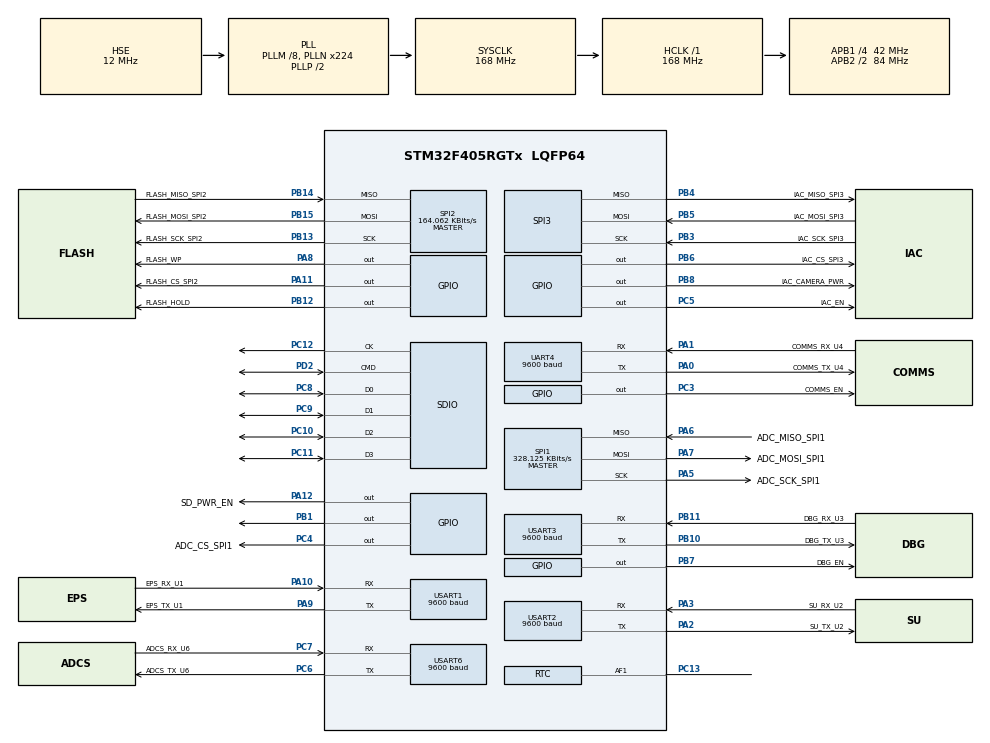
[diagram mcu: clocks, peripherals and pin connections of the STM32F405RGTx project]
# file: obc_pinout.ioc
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ADC1.Channel-21\#ChannelRegularConversion=ADC_CHANNEL_VBAT
ADC1.NbrOfConversionFlag=1
ADC1.Rank-21\#ChannelRegularConversion=1
ADC1.SamplingTime-21\#ChannelRegularConversion=ADC_SAMPLETIME_3CYCLES
ADC1.master=1
Dma.Request0=USART2_TX
Dma.Request1=USART3_TX
Dma.Request2=USART6_TX
Dma.Request3=USART1_TX
Dma.Request4=UART4_TX
Dma.UART4_TX.4.Direction=DMA_MEMORY_TO_PERIPH
Dma.UART4_TX.4.FIFOMode=DMA_FIFOMODE_DISABLE
Dma.UART4_TX.4.Instance=DMA1_Stream4
Dma.UART4_TX.4.MemDataAlignment=DMA_MDATAALIGN_BYTE
Dma.UART4_TX.4.MemInc=DMA_MINC_ENABLE
Dma.UART4_TX.4.Mode=DMA_NORMAL
Dma.UART4_TX.4.PeriphDataAlignment=DMA_PDATAALIGN_BYTE
Dma.UART4_TX.4.PeriphInc=DMA_PINC_DISABLE
Dma.UART4_TX.4.Priority=DMA_PRIORITY_LOW
Dma.USART1_TX.3.Direction=DMA_MEMORY_TO_PERIPH
Dma.USART1_TX.3.FIFOMode=DMA_FIFOMODE_DISABLE
Dma.USART1_TX.3.Instance=DMA2_Stream7
Dma.USART1_TX.3.MemDataAlignment=DMA_MDATAALIGN_BYTE
Dma.USART1_TX.3.MemInc=DMA_MINC_ENABLE
Dma.USART1_TX.3.Mode=DMA_NORMAL
Dma.USART1_TX.3.PeriphDataAlignment=DMA_PDATAALIGN_BYTE
Dma.USART1_TX.3.PeriphInc=DMA_PINC_DISABLE
Dma.USART1_TX.3.Priority=DMA_PRIORITY_LOW
Dma.USART2_TX.0.Direction=DMA_MEMORY_TO_PERIPH
Dma.USART2_TX.0.FIFOMode=DMA_FIFOMODE_DISABLE
Dma.USART2_TX.0.Instance=DMA1_Stream6
Dma.USART2_TX.0.MemDataAlignment=DMA_MDATAALIGN_BYTE
Dma.USART2_TX.0.MemInc=DMA_MINC_ENABLE
Dma.USART2_TX.0.Mode=DMA_NORMAL
Dma.USART2_TX.0.PeriphDataAlignment=DMA_PDATAALIGN_BYTE
Dma.USART2_TX.0.PeriphInc=DMA_PINC_DISABLE
Dma.USART2_TX.0.Priority=DMA_PRIORITY_LOW
Dma.USART3_TX.1.Direction=DMA_MEMORY_TO_PERIPH
Dma.USART3_TX.1.FIFOMode=DMA_FIFOMODE_DISABLE
Dma.USART3_TX.1.Instance=DMA1_Stream3
Dma.USART3_TX.1.MemDataAlignment=DMA_MDATAALIGN_BYTE
Dma.USART3_TX.1.MemInc=DMA_MINC_ENABLE
Dma.USART3_TX.1.Mode=DMA_NORMAL
Dma.USART3_TX.1.PeriphDataAlignment=DMA_PDATAALIGN_BYTE
Dma.USART3_TX.1.PeriphInc=DMA_PINC_DISABLE
Dma.USART3_TX.1.Priority=DMA_PRIORITY_LOW
Dma.USART6_TX.2.Direction=DMA_MEMORY_TO_PERIPH
Dma.USART6_TX.2.FIFOMode=DMA_FIFOMODE_DISABLE
Dma.USART6_TX.2.Instance=DMA2_Stream6
Dma.USART6_TX.2.MemDataAlignment=DMA_MDATAALIGN_BYTE
Dma.USART6_TX.2.MemInc=DMA_MINC_ENABLE
Dma.USART6_TX.2.Mode=DMA_NORMAL
Dma.USART6_TX.2.PeriphDataAlignment=DMA_PDATAALIGN_BYTE
Dma.USART6_TX.2.PeriphInc=DMA_PINC_DISABLE
Dma.USART6_TX.2.Priority=DMA_PRIORITY_LOW
FATFS._FS_LOCK=1
FATFS._MAX_SS=512
FREERTOS.HEAP_NUMBER=1
FREERTOS.INCLUDE_uxTaskGetStackHighWaterMark=1
FREERTOS.INCLUDE_vTaskDelayUntil=1
FREERTOS.Queues01=queueCOMMS,25,uint16_t,NULL;queueADCS,25,uint16_t,NULL;queueDBG,25,uint16_t,NULL;queueEPS,25,uint16_t,NULL
FREERTOS.Tasks01=uart,0,1024,UART_task,Default;HK,-2,512,HK_task,Default;time_check,-3,512,IDLE_task,Default;SU_SCH_task,-1,512,SU_SCH,Default;TEST_task,1,512,StartTask05,Default
FREERTOS.configCHECK_FOR_STACK_OVERFLOW=2
FREERTOS.configUSE_IDLE_HOOK=1
IWDG.Prescaler=IWDG_PRESCALER_256
Mcu.Family=STM32F4
Mcu.Name=STM32F405RGTx
Mcu.Package=LQFP64
NVIC.ADC_IRQn=true\:0\:0\:false\:false\:true\:false
NVIC.DMA1_Stream3_IRQn=true\:5\:0\:false\:false\:true\:true
NVIC.DMA1_Stream4_IRQn=true\:5\:0\:false\:false\:true\:true
NVIC.DMA1_Stream6_IRQn=true\:5\:0\:false\:false\:true\:true
NVIC.DMA2_Stream6_IRQn=true\:5\:0\:false\:false\:true\:true
NVIC.DMA2_Stream7_IRQn=true\:5\:0\:false\:false\:true\:true
NVIC.PriorityGroup=NVIC_PRIORITYGROUP_4
NVIC.SDIO_IRQn=true\:5\:0\:false\:false\:true\:true
NVIC.SPI3_IRQn=true\:5\:0\:false\:false\:true\:true
NVIC.TIM1_UP_TIM10_IRQn=true\:0\:0\:false\:false\:true\:false
NVIC.TimeBase=TIM1_UP_TIM10_IRQn
NVIC.TimeBaseIP=TIM1
NVIC.UART4_IRQn=true\:5\:0\:false\:false\:true\:true
NVIC.USART1_IRQn=true\:5\:0\:false\:false\:true\:true
NVIC.USART2_IRQn=true\:5\:0\:false\:false\:true\:true
NVIC.USART3_IRQn=true\:5\:0\:false\:false\:true\:true
NVIC.USART6_IRQn=true\:5\:0\:false\:false\:true\:true
PA0-WKUP.GPIO_Label=COMMS_TX_U4
PA0-WKUP.Mode=Asynchronous
PA0-WKUP.Signal=UART4_TX
PA1.GPIO_Label=COMMS_RX_U4
PA1.Mode=Asynchronous
PA1.Signal=UART4_RX
PA10.GPIO_Label=EPS_RX_U1
PA10.Mode=Asynchronous
PA10.Signal=USART1_RX
PA11.GPIO_Label=FLASH_CS_SPI2
PA11.Signal=GPIO_Output
PA12.GPIO_Label=SD_PWR_EN
PA12.Signal=GPIO_Output
PA13.Mode=Serial_Wire
PA13.Signal=SYS_JTMS-SWDIO
PA14.Mode=Serial_Wire
PA14.Signal=SYS_JTCK-SWCLK
PA2.GPIO_Label=SU_TX_U2
PA2.Mode=Asynchronous
PA2.Signal=USART2_TX
PA3.GPIO_Label=SU_RX_U2
PA3.Mode=Asynchronous
PA3.Signal=USART2_RX
PA5.GPIO_Label=ADC_SCK_SPI1
PA5.Mode=Full_Duplex_Master
PA5.Signal=SPI1_SCK
PA6.GPIO_Label=ADC_MISO_SPI1
PA6.Mode=Full_Duplex_Master
PA6.Signal=SPI1_MISO
PA7.GPIO_Label=ADC_MOSI_SPI1
PA7.Mode=Full_Duplex_Master
PA7.Signal=SPI1_MOSI
PA8.GPIO_Label=FLASH_WP
PA8.Signal=GPIO_Output
PA9.GPIO_Label=EPS_TX_U1
PA9.Mode=Asynchronous
PA9.Signal=USART1_TX
PB0.GPIO_Label=IAC_CM_ADC1_8
PB0.Signal=ADCx_IN8
PB1.Signal=GPIO_Output
PB10.GPIO_Label=DBG_TX_U3
PB10.Mode=Asynchronous
PB10.Signal=USART3_TX
PB11.GPIO_Label=DBG_RX_U3
PB11.Mode=Asynchronous
PB11.Signal=USART3_RX
PB12.GPIO_Label=FLASH_HOLD
PB12.Signal=GPIO_Output
PB13.GPIO_Label=FLASH_SCK_SPI2
PB13.Mode=Full_Duplex_Master
PB13.Signal=SPI2_SCK
PB14.GPIO_Label=FLASH_MISO_SPI2
PB14.Mode=Full_Duplex_Master
PB14.Signal=SPI2_MISO
PB15.GPIO_Label=FLASH_MOSI_SPI2
PB15.Mode=Full_Duplex_Master
PB15.Signal=SPI2_MOSI
PB3.GPIO_Label=IAC_SCK_SPI3
PB3.Mode=Full_Duplex_Slave
PB3.Signal=SPI3_SCK
PB4.GPIO_Label=IAC_MISO_SPI3
PB4.Mode=Full_Duplex_Slave
PB4.Signal=SPI3_MISO
PB5.GPIO_Label=IAC_MOSI_SPI3
PB5.Mode=Full_Duplex_Slave
PB5.Signal=SPI3_MOSI
PB6.GPIO_Label=IAC_CS_SPI3
PB6.Signal=GPIO_Output
PB7.GPIO_Label=DBG_EN
PB7.Signal=GPIO_Output
PB8.GPIO_Label=IAC_CAMERA_PWR
PB8.Signal=GPIO_Output
PC10.Mode=SD_4_bits_Wide_bus
PC10.Signal=SDIO_D2
PC11.Mode=SD_4_bits_Wide_bus
PC11.Signal=SDIO_D3
PC12.Mode=SD_4_bits_Wide_bus
PC12.Signal=SDIO_CK
PC13-ANTI_TAMP.Mode=Calibration_1Hz
PC13-ANTI_TAMP.Signal=RTC_AF1
PC14-OSC32_IN.Mode=LSE-External-Oscillator
PC14-OSC32_IN.Signal=RCC_OSC32_IN
PC15-OSC32_OUT.Mode=LSE-External-Oscillator
PC15-OSC32_OUT.Signal=RCC_OSC32_OUT
PC3.GPIO_Label=COMMS_EN
PC3.Signal=GPIO_Output
PC4.GPIO_Label=ADC_CS_SPI1
PC4.Signal=GPIO_Output
PC5.GPIO_Label=IAC_EN
PC5.Signal=GPIO_Output
PC6.GPIO_Label=ADCS_TX_U6
PC6.Mode=Asynchronous
PC6.Signal=USART6_TX
PC7.GPIO_Label=ADCS_RX_U6
PC7.Mode=Asynchronous
PC7.Signal=USART6_RX
PC8.Mode=SD_4_bits_Wide_bus
PC8.Signal=SDIO_D0
PC9.Mode=SD_4_bits_Wide_bus
PC9.Signal=SDIO_D1
PD2.Mode=SD_4_bits_Wide_bus
PD2.Signal=SDIO_CMD
PH0-OSC_IN.Mode=HSE-External-Oscillator
PH0-OSC_IN.Signal=RCC_OSC_IN
PH1-OSC_OUT.Mode=HSE-External-Oscillator
PH1-OSC_OUT.Signal=RCC_OSC_OUT
ProjectManager.HeapSize=0x200
ProjectManager.StackSize=0x400
ProjectManager.TargetToolchain=EWARM
RCC.48MHZClocksFreq_Value=48000000
RCC.AHBFreq_Value=168000000
RCC.APB1CLKDivider=RCC_HCLK_DIV4
RCC.APB1Freq_Value=42000000
RCC.APB1TimFreq_Value=84000000
RCC.APB2CLKDivider=RCC_HCLK_DIV2
RCC.APB2Freq_Value=84000000
RCC.APB2TimFreq_Value=168000000
RCC.CortexFreq_Value=168000000
RCC.HCLKFreq_Value=168000000
RCC.HSE_VALUE=12000000
RCC.HSI_VALUE=16000000
<<<<<<< HEAD
=======
>>>>>>> 43d666d733c7030f41e173ef69a7ccceccf4d077
RCC.PLLM=8
RCC.PLLN=224
RCC.PLLQ=7
RCC.PLLSourceVirtual=RCC_PLLSOURCE_HSE
RCC.RCC_RTC_Clock_Source=RCC_RTCCLKSOURCE_LSE
RCC.RCC_RTC_Clock_SourceVirtual=RCC_RTCCLKSOURCE_LSE
RCC.SYSCLKFreq_VALUE=168000000
RCC.SYSCLKSource=RCC_SYSCLKSOURCE_PLLCLK
RCC.VCOOutputFreq_Value=336000000
RTC.Format=RTC_FORMAT_BIN
SDIO.BusWide=SDIO_BUS_WIDE_1B
SDIO.WideMode=SDIO_BUS_WIDE_4B
SH.ADCx_IN8.0=ADC1_IN8
SPI1.BaudRatePrescaler=SPI_BAUDRATEPRESCALER_256
SPI1.CalculateBaudRate=328.125 KBits/s
SPI1.Mode=SPI_MODE_MASTER
SPI2.BaudRatePrescaler=SPI_BAUDRATEPRESCALER_256
SPI2.CLKPhase=SPI_PHASE_1EDGE
SPI2.CalculateBaudRate=164.062 KBits/s
SPI2.Mode=SPI_MODE_MASTER
SPI3.VirtualType=VM_SLAVE
UART4.BaudRate=9600
USART1.BaudRate=9600
USART2.BaudRate=9600
USART3.BaudRate=9600
USART6.BaudRate=9600
VP_ADC1_Vbat_Input.Mode=IN-Vbat
VP_FATFS_VS_SDIO.Mode=SDIO
VP_FREERTOS_VS_ENABLE.Mode=Enabled
VP_IWDG_VS_IWDG.Mode=IWDG_Activate
VP_SYS_VS_tim1.Mode=TIM1
board=obc_pinout

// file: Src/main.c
/**
  ******************************************************************************
  * File Name          : main.c
  * Description        : Main program body
  ******************************************************************************
  *
  * COPYRIGHT(c) 2016 STMicroelectronics
  *
  * Redistribution and use in source and binary forms, with or without modification,
  * are permitted provided that the following conditions are met:
  *   1. Redistributions of source code must retain the above copyright notice,
  *      this list of conditions and the following disclaimer.
  *   2. Redistributions in binary form must reproduce the above copyright notice,
  *      this list of conditions and the following disclaimer in the documentation
  *      and/or other materials provided with the distribution.
  *   3. Neither the name of STMicroelectronics nor the names of its contributors
  *      may be used to endorse or promote products derived from this software
  *      without specific prior written permission.
  *
  * THIS SOFTWARE IS PROVIDED BY THE COPYRIGHT HOLDERS AND CONTRIBUTORS "AS IS"
  * AND ANY EXPRESS OR IMPLIED WARRANTIES, INCLUDING, BUT NOT LIMITED TO, THE
  * IMPLIED WARRANTIES OF MERCHANTABILITY AND FITNESS FOR A PARTICULAR PURPOSE ARE
  * DISCLAIMED. IN NO EVENT SHALL THE COPYRIGHT HOLDER OR CONTRIBUTORS BE LIABLE
  * FOR ANY DIRECT, INDIRECT, INCIDENTAL, SPECIAL, EXEMPLARY, OR CONSEQUENTIAL
  * DAMAGES (INCLUDING, BUT NOT LIMITED TO, PROCUREMENT OF SUBSTITUTE GOODS OR
  * SERVICES; LOSS OF USE, DATA, OR PROFITS; OR BUSINESS INTERRUPTION) HOWEVER
  * CAUSED AND ON ANY THEORY OF LIABILITY, WHETHER IN CONTRACT, STRICT LIABILITY,
  * OR TORT (INCLUDING NEGLIGENCE OR OTHERWISE) ARISING IN ANY WAY OUT OF THE USE
  * OF THIS SOFTWARE, EVEN IF ADVISED OF THE POSSIBILITY OF SUCH DAMAGE.
  *
  ******************************************************************************
  */
#include "stm32f4xx_hal.h"
#include "cmsis_os.h"
#include "fatfs.h"

/* USER CODE BEGIN Includes */
#include "obc.h"
#include "service_utilities.h"
#include "time_management_service.h"
#include "wdg.h"
#include "su_mnlp.h"
#include "scheduling_service.h"

#undef __FILE_ID__
#define __FILE_ID__ 666

/* USER CODE END Includes */

ADC_HandleTypeDef hadc1;

IWDG_HandleTypeDef hiwdg;

RTC_HandleTypeDef hrtc;

SD_HandleTypeDef hsd;
HAL_SD_CardInfoTypedef SDCardInfo;

SPI_HandleTypeDef hspi1;
SPI_HandleTypeDef hspi2;
SPI_HandleTypeDef hspi3;

UART_HandleTypeDef huart4;
UART_HandleTypeDef huart1;
UART_HandleTypeDef huart2;
UART_HandleTypeDef huart3;
UART_HandleTypeDef huart6;
DMA_HandleTypeDef hdma_uart4_tx;
DMA_HandleTypeDef hdma_usart1_tx;
DMA_HandleTypeDef hdma_usart2_tx;
DMA_HandleTypeDef hdma_usart3_tx;
DMA_HandleTypeDef hdma_usart6_tx;

osThreadId uartHandle;
osThreadId hkHandle;
osThreadId idleHandle;
osThreadId su_schHandle;
osThreadId sche_servHandle;
osMessageQId queueCOMMS;
osMessageQId queueADCS;
osMessageQId queueDBG;
osMessageQId queueEPS;

/* USER CODE BEGIN PV */
/* Private variables ---------------------------------------------------------*/
uint8_t uart_temp[200];
extern uint8_t su_inc_resp[180]; //174 su resp + 22 flight hdr, +1 for serial shift = 197
extern struct _MNLP_data MNLP_data;

TaskHandle_t xTask_UART = NULL;
/* USER CODE END PV */

void SystemClock_Config(void);
void Error_Handler(void);
static void MX_GPIO_Init(void);
static void MX_DMA_Init(void);
static void MX_SDIO_SD_Init(void);
static void MX_UART4_Init(void);
static void MX_USART2_UART_Init(void);
static void MX_USART3_UART_Init(void);
static void MX_USART6_UART_Init(void);
static void MX_USART1_UART_Init(void);
static void MX_SPI2_Init(void);
static void MX_SPI1_Init(void);
static void MX_SPI3_Init(void);
static void MX_ADC1_Init(void);
static void MX_RTC_Init(void);
static void MX_IWDG_Init(void);
void UART_task(void const * argument);
void HK_task(void const * argument);
void IDLE_task(void const * argument);
void SU_SCH(void const * argument);
void sche_se_sch(void const * argument);

/* USER CODE BEGIN PFP */
/* Private function prototypes -----------------------------------------------*/

/* USER CODE END PFP */

/* USER CODE BEGIN 0 */
const TickType_t xUARTMaxBlockTime = pdMS_TO_TICKS(10000);
const TickType_t xUARTMinBlockTime = pdMS_TO_TICKS(100);
/* USER CODE END 0 */

int main(void)
{

  /* MCU Configuration----------------------------------------------------------*/

  /* Reset of all peripherals, Initializes the Flash interface and the Systick. */
  HAL_Init();
  HAL_Delay(5000);
  /* Configure the system clock */
  SystemClock_Config();

  /* Initialize all configured peripherals */
  MX_GPIO_Init();
  MX_DMA_Init();
  MX_SDIO_SD_Init();
  MX_UART4_Init();
  MX_USART2_UART_Init();
  MX_USART3_UART_Init();
  MX_USART6_UART_Init();
  MX_USART1_UART_Init();
  MX_SPI2_Init();
  MX_SPI1_Init();
  MX_SPI3_Init();
  MX_ADC1_Init();
  MX_RTC_Init();
  MX_IWDG_Init();

  /* USER CODE BEGIN 2 */
  SEGGER_SYSVIEW_Conf();
  sysview_init();
  /* USER CODE END 2 */

  /* Create the thread(s) */
  /* definition and creation of uart */
  osThreadDef(uart, UART_task, osPriorityAboveNormal, 0, 1024);
  uartHandle = osThreadCreate(osThread(uart), NULL);

  /* definition and creation of HK */
  osThreadDef(HK, HK_task, osPriorityLow, 0, 512);
  hkHandle = osThreadCreate(osThread(HK), NULL);

  /* definition and creation of time_check */
  osThreadDef(time_check, IDLE_task, osPriorityIdle, 0, 512);
  idleHandle = osThreadCreate(osThread(time_check), NULL);

  /* definition and creation of SU_SCH_task */
  osThreadDef(SU_SCH_task, SU_SCH, osPriorityNormal, 0, 512);
  su_schHandle = osThreadCreate(osThread(SU_SCH_task), NULL);

  /* definition and creation of scheduling_serv */
  osThreadDef(scheduling_serv, sche_se_sch, osPriorityBelowNormal, 0, 128);
  sche_servHandle = osThreadCreate(osThread(scheduling_serv), NULL);

  /* Create the queue(s) */
  /* definition and creation of queueCOMMS */
  osMessageQDef(queueCOMMSdef, POOL_PKT_TOTAL_SIZE + 1, sizeof(tc_tm_pkt *));
  queueCOMMS = osMessageCreate(osMessageQ(queueCOMMSdef), NULL);

  /* definition and creation of queueADCS */
  osMessageQDef(queueADCSdef, POOL_PKT_TOTAL_SIZE + 1, sizeof(tc_tm_pkt *));
  queueADCS = osMessageCreate(osMessageQ(queueADCSdef), NULL);

  /* definition and creation of queueDBG */
  osMessageQDef(queueDBGdef, POOL_PKT_TOTAL_SIZE + 1, sizeof(tc_tm_pkt *));
  queueDBG = osMessageCreate(osMessageQ(queueDBGdef), NULL);

  /* definition and creation of queueEPS */
  osMessageQDef(queueEPSdef, POOL_PKT_TOTAL_SIZE + 1, sizeof(tc_tm_pkt *));
  queueEPS = osMessageCreate(osMessageQ(queueEPSdef), NULL);

  /* USER CODE BEGIN RTOS_QUEUES */
  uint32_t test = uxQueueMessagesWaiting( queueEPS );
  test = uxQueueMessagesWaiting( queueDBG );
  test = uxQueueMessagesWaiting( queueADCS );
  test = uxQueueMessagesWaiting( queueCOMMS );
  /* USER CODE END RTOS_QUEUES */

  /* Start scheduler */
  osKernelStart();

  /* We should never get here as control is now taken by the scheduler */

  /* Infinite loop */
  while (1)
  {

  }

}

/** System Clock Configuration
*/
void SystemClock_Config(void)
{

  RCC_OscInitTypeDef RCC_OscInitStruct;
  RCC_ClkInitTypeDef RCC_ClkInitStruct;
  RCC_PeriphCLKInitTypeDef PeriphClkInitStruct;

  __HAL_RCC_PWR_CLK_ENABLE();

  __HAL_PWR_VOLTAGESCALING_CONFIG(PWR_REGULATOR_VOLTAGE_SCALE1);

  RCC_OscInitStruct.OscillatorType = RCC_OSCILLATORTYPE_LSI|RCC_OSCILLATORTYPE_HSE
                              |RCC_OSCILLATORTYPE_LSE;
  RCC_OscInitStruct.HSEState = RCC_HSE_ON;
  RCC_OscInitStruct.LSEState = RCC_LSE_ON;
  RCC_OscInitStruct.LSIState = RCC_LSI_ON;
  RCC_OscInitStruct.PLL.PLLState = RCC_PLL_ON;
  RCC_OscInitStruct.PLL.PLLSource = RCC_PLLSOURCE_HSE;
  RCC_OscInitStruct.PLL.PLLM = 8;
  RCC_OscInitStruct.PLL.PLLN = 224;
  RCC_OscInitStruct.PLL.PLLP = RCC_PLLP_DIV2;
  RCC_OscInitStruct.PLL.PLLQ = 7;
  if (HAL_RCC_OscConfig(&RCC_OscInitStruct) != HAL_OK)
  {
    Error_Handler();
  }

  RCC_ClkInitStruct.ClockType = RCC_CLOCKTYPE_HCLK|RCC_CLOCKTYPE_SYSCLK
                              |RCC_CLOCKTYPE_PCLK1|RCC_CLOCKTYPE_PCLK2;
  RCC_ClkInitStruct.SYSCLKSource = RCC_SYSCLKSOURCE_PLLCLK;
  RCC_ClkInitStruct.AHBCLKDivider = RCC_SYSCLK_DIV1;
  RCC_ClkInitStruct.APB1CLKDivider = RCC_HCLK_DIV4;
  RCC_ClkInitStruct.APB2CLKDivider = RCC_HCLK_DIV2;
  if (HAL_RCC_ClockConfig(&RCC_ClkInitStruct, FLASH_LATENCY_5) != HAL_OK)
  {
    Error_Handler();
  }

  PeriphClkInitStruct.PeriphClockSelection = RCC_PERIPHCLK_RTC;
  PeriphClkInitStruct.RTCClockSelection = RCC_RTCCLKSOURCE_LSE;
  if (HAL_RCCEx_PeriphCLKConfig(&PeriphClkInitStruct) != HAL_OK)
  {
    Error_Handler();
  }

  HAL_SYSTICK_Config(HAL_RCC_GetHCLKFreq()/1000);

  HAL_SYSTICK_CLKSourceConfig(SYSTICK_CLKSOURCE_HCLK);

  /* SysTick_IRQn interrupt configuration */
  HAL_NVIC_SetPriority(SysTick_IRQn, 15, 0);
}

/* ADC1 init function */
static void MX_ADC1_Init(void)
{

  ADC_ChannelConfTypeDef sConfig;

    /**Configure the global features of the ADC (Clock, Resolution, Data Alignment and number of conversion)
    */
  hadc1.Instance = ADC1;
  hadc1.Init.ClockPrescaler = ADC_CLOCK_SYNC_PCLK_DIV4;
  hadc1.Init.Resolution = ADC_RESOLUTION_12B;
  hadc1.Init.ScanConvMode = DISABLE;
  hadc1.Init.ContinuousConvMode = DISABLE;
  hadc1.Init.DiscontinuousConvMode = DISABLE;
  hadc1.Init.ExternalTrigConvEdge = ADC_EXTERNALTRIGCONVEDGE_NONE;
  hadc1.Init.DataAlign = ADC_DATAALIGN_RIGHT;
  hadc1.Init.NbrOfConversion = 1;
  hadc1.Init.DMAContinuousRequests = DISABLE;
  hadc1.Init.EOCSelection = ADC_EOC_SINGLE_CONV;
  if (HAL_ADC_Init(&hadc1) != HAL_OK)
  {
    Error_Handler();
  }

    /**Configure for the selected ADC regular channel its corresponding rank in the sequencer and its sample time.
    */
  sConfig.Channel = ADC_CHANNEL_VBAT;
  sConfig.Rank = 1;
  sConfig.SamplingTime = ADC_SAMPLETIME_3CYCLES;
  if (HAL_ADC_ConfigChannel(&hadc1, &sConfig) != HAL_OK)
  {
    Error_Handler();
  }

}

/* IWDG init function */
static void MX_IWDG_Init(void)
{

  hiwdg.Instance = IWDG;
  hiwdg.Init.Prescaler = IWDG_PRESCALER_256;
  hiwdg.Init.Reload = 4095;
  if (HAL_IWDG_Init(&hiwdg) != HAL_OK)
  {
    Error_Handler();
  }

}

/* RTC init function */
static void MX_RTC_Init(void)
{

  RTC_TimeTypeDef sTime;
  RTC_DateTypeDef sDate;

    /**Initialize RTC and set the Time and Date
    */
  hrtc.Instance = RTC;
  hrtc.Init.HourFormat = RTC_HOURFORMAT_24;
  hrtc.Init.AsynchPrediv = 127;
  hrtc.Init.SynchPrediv = 255;
  hrtc.Init.OutPut = RTC_OUTPUT_DISABLE;
  hrtc.Init.OutPutPolarity = RTC_OUTPUT_POLARITY_HIGH;
  hrtc.Init.OutPutType = RTC_OUTPUT_TYPE_OPENDRAIN;
  if (HAL_RTC_Init(&hrtc) != HAL_OK)
  {
    Error_Handler();
  }

  sTime.Hours = 0;
  sTime.Minutes = 0;
  sTime.Seconds = 0;
  sTime.DayLightSaving = RTC_DAYLIGHTSAVING_NONE;
  sTime.StoreOperation = RTC_STOREOPERATION_RESET;
  //if (HAL_RTC_SetTime(&hrtc, &sTime, RTC_FORMAT_BIN) != HAL_OK)
  //{
  //  Error_Handler();
  //}

  sDate.WeekDay = RTC_WEEKDAY_MONDAY;
  sDate.Month = RTC_MONTH_JANUARY;
  sDate.Date = 1;
  sDate.Year = 0;

  //if (HAL_RTC_SetDate(&hrtc, &sDate, RTC_FORMAT_BIN) != HAL_OK)
  //{
  //  Error_Handler();
  //}

    /**Enable Calibrartion
    */
  //if (HAL_RTCEx_SetCalibrationOutPut(&hrtc, RTC_CALIBOUTPUT_1HZ) != HAL_OK)
  //{
  //  Error_Handler();
  //}

}

/* SDIO init function */
static void MX_SDIO_SD_Init(void)
{

  hsd.Instance = SDIO;
  hsd.Init.ClockEdge = SDIO_CLOCK_EDGE_RISING;
  hsd.Init.ClockBypass = SDIO_CLOCK_BYPASS_DISABLE;
  hsd.Init.ClockPowerSave = SDIO_CLOCK_POWER_SAVE_DISABLE;
  hsd.Init.BusWide = SDIO_BUS_WIDE_1B;
  hsd.Init.HardwareFlowControl = SDIO_HARDWARE_FLOW_CONTROL_DISABLE;
  hsd.Init.ClockDiv = 0;

}

/* SPI1 init function */
static void MX_SPI1_Init(void)
{

  hspi1.Instance = SPI1;
  hspi1.Init.Mode = SPI_MODE_MASTER;
  hspi1.Init.Direction = SPI_DIRECTION_2LINES;
  hspi1.Init.DataSize = SPI_DATASIZE_8BIT;
  hspi1.Init.CLKPolarity = SPI_POLARITY_LOW;
  hspi1.Init.CLKPhase = SPI_PHASE_1EDGE;
  hspi1.Init.NSS = SPI_NSS_SOFT;
  hspi1.Init.BaudRatePrescaler = SPI_BAUDRATEPRESCALER_256;
  hspi1.Init.FirstBit = SPI_FIRSTBIT_MSB;
  hspi1.Init.TIMode = SPI_TIMODE_DISABLE;
  hspi1.Init.CRCCalculation = SPI_CRCCALCULATION_DISABLE;
  hspi1.Init.CRCPolynomial = 10;
  if (HAL_SPI_Init(&hspi1) != HAL_OK)
  {
    Error_Handler();
  }

}

/* SPI2 init function */
static void MX_SPI2_Init(void)
{

  hspi2.Instance = SPI2;
  hspi2.Init.Mode = SPI_MODE_MASTER;
  hspi2.Init.Direction = SPI_DIRECTION_2LINES;
  hspi2.Init.DataSize = SPI_DATASIZE_8BIT;
  hspi2.Init.CLKPolarity = SPI_POLARITY_LOW;
  hspi2.Init.CLKPhase = SPI_PHASE_1EDGE;
  hspi2.Init.NSS = SPI_NSS_SOFT;
  hspi2.Init.BaudRatePrescaler = SPI_BAUDRATEPRESCALER_256;
  hspi2.Init.FirstBit = SPI_FIRSTBIT_MSB;
  hspi2.Init.TIMode = SPI_TIMODE_DISABLE;
  hspi2.Init.CRCCalculation = SPI_CRCCALCULATION_DISABLE;
  hspi2.Init.CRCPolynomial = 10;
  if (HAL_SPI_Init(&hspi2) != HAL_OK)
  {
    Error_Handler();
  }

}

/* SPI3 init function */
static void MX_SPI3_Init(void)
{

  hspi3.Instance = SPI3;
  hspi3.Init.Mode = SPI_MODE_SLAVE;
  hspi3.Init.Direction = SPI_DIRECTION_2LINES;
  hspi3.Init.DataSize = SPI_DATASIZE_8BIT;
  hspi3.Init.CLKPolarity = SPI_POLARITY_LOW;
  hspi3.Init.CLKPhase = SPI_PHASE_1EDGE;
  hspi3.Init.NSS = SPI_NSS_SOFT;
  hspi3.Init.FirstBit = SPI_FIRSTBIT_MSB;
  hspi3.Init.TIMode = SPI_TIMODE_DISABLE;
  hspi3.Init.CRCCalculation = SPI_CRCCALCULATION_DISABLE;
  hspi3.Init.CRCPolynomial = 10;
  if (HAL_SPI_Init(&hspi3) != HAL_OK)
  {
    Error_Handler();
  }

}

/* UART4 init function */
static void MX_UART4_Init(void)
{

  huart4.Instance = UART4;
  huart4.Init.BaudRate = 9600;
  huart4.Init.WordLength = UART_WORDLENGTH_8B;
  huart4.Init.StopBits = UART_STOPBITS_1;
  huart4.Init.Parity = UART_PARITY_NONE;
  huart4.Init.Mode = UART_MODE_TX_RX;
  huart4.Init.HwFlowCtl = UART_HWCONTROL_NONE;
  huart4.Init.OverSampling = UART_OVERSAMPLING_16;
  if (HAL_UART_Init(&huart4) != HAL_OK)
  {
    Error_Handler();
  }

}

/* USART1 init function */
static void MX_USART1_UART_Init(void)
{

  huart1.Instance = USART1;
  huart1.Init.BaudRate = 9600;
  huart1.Init.WordLength = UART_WORDLENGTH_8B;
  huart1.Init.StopBits = UART_STOPBITS_1;
  huart1.Init.Parity = UART_PARITY_NONE;
  huart1.Init.Mode = UART_MODE_TX_RX;
  huart1.Init.HwFlowCtl = UART_HWCONTROL_NONE;
  huart1.Init.OverSampling = UART_OVERSAMPLING_16;
  if (HAL_UART_Init(&huart1) != HAL_OK)
  {
    Error_Handler();
  }

}

/* USART2 init function */
static void MX_USART2_UART_Init(void)
{

  huart2.Instance = USART2;
  huart2.Init.BaudRate = 9600;
  huart2.Init.WordLength = UART_WORDLENGTH_8B;
  huart2.Init.StopBits = UART_STOPBITS_1;
  huart2.Init.Parity = UART_PARITY_NONE;
  huart2.Init.Mode = UART_MODE_TX_RX;
  huart2.Init.HwFlowCtl = UART_HWCONTROL_NONE;
  huart2.Init.OverSampling = UART_OVERSAMPLING_16;
  if (HAL_UART_Init(&huart2) != HAL_OK)
  {
    Error_Handler();
  }

}

/* USART3 init function */
static void MX_USART3_UART_Init(void)
{

  huart3.Instance = USART3;
  huart3.Init.BaudRate = 9600;
  huart3.Init.WordLength = UART_WORDLENGTH_8B;
  huart3.Init.StopBits = UART_STOPBITS_1;
  huart3.Init.Parity = UART_PARITY_NONE;
  huart3.Init.Mode = UART_MODE_TX_RX;
  huart3.Init.HwFlowCtl = UART_HWCONTROL_NONE;
  huart3.Init.OverSampling = UART_OVERSAMPLING_16;
  if (HAL_UART_Init(&huart3) != HAL_OK)
  {
    Error_Handler();
  }

}

/* USART6 init function */
static void MX_USART6_UART_Init(void)
{

  huart6.Instance = USART6;
  huart6.Init.BaudRate = 9600;
  huart6.Init.WordLength = UART_WORDLENGTH_8B;
  huart6.Init.StopBits = UART_STOPBITS_1;
  huart6.Init.Parity = UART_PARITY_NONE;
  huart6.Init.Mode = UART_MODE_TX_RX;
  huart6.Init.HwFlowCtl = UART_HWCONTROL_NONE;
  huart6.Init.OverSampling = UART_OVERSAMPLING_16;
  if (HAL_UART_Init(&huart6) != HAL_OK)
  {
    Error_Handler();
  }

}

static void MX_DMA_Init(void)
{
  /* DMA controller clock enable */
  __HAL_RCC_DMA1_CLK_ENABLE();
  __HAL_RCC_DMA2_CLK_ENABLE();

  /* DMA interrupt init */
  /* DMA1_Stream3_IRQn interrupt configuration */
  HAL_NVIC_SetPriority(DMA1_Stream3_IRQn, 5, 0);
  HAL_NVIC_EnableIRQ(DMA1_Stream3_IRQn);
  /* DMA1_Stream4_IRQn interrupt configuration */
  HAL_NVIC_SetPriority(DMA1_Stream4_IRQn, 5, 0);
  HAL_NVIC_EnableIRQ(DMA1_Stream4_IRQn);
  /* DMA1_Stream6_IRQn interrupt configuration */
  HAL_NVIC_SetPriority(DMA1_Stream6_IRQn, 5, 0);
  HAL_NVIC_EnableIRQ(DMA1_Stream6_IRQn);
  /* DMA2_Stream6_IRQn interrupt configuration */
  HAL_NVIC_SetPriority(DMA2_Stream6_IRQn, 5, 0);
  HAL_NVIC_EnableIRQ(DMA2_Stream6_IRQn);
  /* DMA2_Stream7_IRQn interrupt configuration */
  HAL_NVIC_SetPriority(DMA2_Stream7_IRQn, 5, 0);
  HAL_NVIC_EnableIRQ(DMA2_Stream7_IRQn);

}

/** Configure pins as
        * Analog
        * Input
        * Output
        * EVENT_OUT
        * EXTI
*/
static void MX_GPIO_Init(void)
{

  GPIO_InitTypeDef GPIO_InitStruct;

  /* GPIO Ports Clock Enable */
  __HAL_RCC_GPIOC_CLK_ENABLE();
  __HAL_RCC_GPIOH_CLK_ENABLE();
  __HAL_RCC_GPIOA_CLK_ENABLE();
  __HAL_RCC_GPIOB_CLK_ENABLE();
  __HAL_RCC_GPIOD_CLK_ENABLE();

  /*Configure GPIO pin Output Level */
  HAL_GPIO_WritePin(GPIOC, COMMS_EN_Pin|ADC_CS_SPI1_Pin, GPIO_PIN_RESET);

  HAL_GPIO_WritePin(GPIOC, IAC_EN_Pin, GPIO_PIN_SET);

  /*Configure GPIO pin Output Level */
  HAL_GPIO_WritePin(GPIOB, GPIO_PIN_1|IAC_CS_SPI3_Pin|FLASH_HOLD_Pin|DBG_EN_Pin, GPIO_PIN_RESET);

  HAL_GPIO_WritePin(GPIOB, IAC_CAMERA_PWR_Pin, GPIO_PIN_SET);

  /*Configure GPIO pin Output Level */
  HAL_GPIO_WritePin(GPIOA, FLASH_WP_Pin|FLASH_CS_SPI2_Pin|SD_PWR_EN_Pin, GPIO_PIN_RESET);

  /*Configure GPIO pins : COMMS_EN_Pin ADC_CS_SPI1_Pin IAC_EN_Pin */
  GPIO_InitStruct.Pin = COMMS_EN_Pin|ADC_CS_SPI1_Pin|IAC_EN_Pin;
  GPIO_InitStruct.Mode = GPIO_MODE_OUTPUT_PP;
  GPIO_InitStruct.Pull = GPIO_NOPULL;
  GPIO_InitStruct.Speed = GPIO_SPEED_FREQ_LOW;
  HAL_GPIO_Init(GPIOC, &GPIO_InitStruct);

  /*Configure GPIO pins : PB1 FLASH_HOLD_Pin IAC_CS_SPI3_Pin DBG_EN_Pin
                           IAC_CAMERA_PWR_Pin */
  GPIO_InitStruct.Pin = GPIO_PIN_1|FLASH_HOLD_Pin|IAC_CS_SPI3_Pin|DBG_EN_Pin
                          |IAC_CAMERA_PWR_Pin;
  GPIO_InitStruct.Mode = GPIO_MODE_OUTPUT_PP;
  GPIO_InitStruct.Pull = GPIO_NOPULL;
  GPIO_InitStruct.Speed = GPIO_SPEED_FREQ_LOW;
  HAL_GPIO_Init(GPIOB, &GPIO_InitStruct);

  /*Configure GPIO pins : FLASH_WP_Pin FLASH_CS_SPI2_Pin SD_PWR_EN_Pin */
  GPIO_InitStruct.Pin = FLASH_WP_Pin|FLASH_CS_SPI2_Pin|SD_PWR_EN_Pin;
  GPIO_InitStruct.Mode = GPIO_MODE_OUTPUT_PP;
  GPIO_InitStruct.Pull = GPIO_NOPULL;
  GPIO_InitStruct.Speed = GPIO_SPEED_FREQ_LOW;
  HAL_GPIO_Init(GPIOA, &GPIO_InitStruct);

}

/* USER CODE BEGIN 4 */
void HAL_ADC_ConvCpltCallback(ADC_HandleTypeDef* hadc) {
    obc_data.adc_flag = true;
}
/* USER CODE END 4 */

/* UART_task function */
void UART_task(void const * argument)
{
  /* init code for FATFS */
  MX_FATFS_Init();

  /* USER CODE BEGIN 5 */

   /*IS25LP128  eeprom*/
   HAL_GPIO_WritePin(GPIOA, GPIO_PIN_11, GPIO_PIN_SET);
   HAL_GPIO_WritePin(GPIOB, GPIO_PIN_12, GPIO_PIN_SET);

   pkt_pool_INIT();
   HAL_obc_enableBkUpAccess();
   bkup_sram_INIT();

   uint8_t rsrc = 0;
   HAL_reset_source(&rsrc);
   set_reset_source(rsrc);

   uint32_t b_cnt = 0;
   get_boot_counter(&b_cnt);

   update_boot_counter();

   HAL_obc_SD_ON();

   mass_storage_init();

  /*Task notification setup*/
  uint32_t ulNotificationValue;
  const TickType_t xMaxBlockTime = pdMS_TO_TICKS(10000);

  xTask_UART = xTaskGetCurrentTaskHandle();
  TickType_t blockTime;

  su_INIT();

  scheduling_service_init();

  HAL_GPIO_WritePin(GPIOB, GPIO_PIN_6, GPIO_PIN_SET);
  osDelay(1);
  HAL_GPIO_WritePin(GPIOB, GPIO_PIN_6, GPIO_PIN_RESET);
  /*Uart inits*/
  HAL_UART_Receive_IT( &huart1, obc_data.eps_uart.uart_buf, UART_BUF_SIZE);
  HAL_UART_Receive_IT( &huart2, MNLP_data.su_inc_resp, 174);
  HAL_UART_Receive_IT( &huart3, obc_data.dbg_uart.uart_buf, UART_BUF_SIZE);
  HAL_UART_Receive_IT( &huart4, obc_data.comms_uart.uart_buf, UART_BUF_SIZE);
  HAL_UART_Receive_IT( &huart6, obc_data.adcs_uart.uart_buf, UART_BUF_SIZE);

  /* Infinite loop */
  for(;;)
  {
    task_times.uart_time = HAL_sys_GetTick();
    su_incoming_rx();
    import_pkt(EPS_APP_ID, &obc_data.eps_uart);
    export_pkt(EPS_APP_ID, &obc_data.eps_uart);

    import_pkt(COMMS_APP_ID, &obc_data.comms_uart);
    export_pkt(COMMS_APP_ID, &obc_data.comms_uart);

    import_pkt(ADCS_APP_ID, &obc_data.adcs_uart);
    export_pkt(ADCS_APP_ID, &obc_data.adcs_uart);

    import_pkt(DBG_APP_ID, &obc_data.dbg_uart);
    export_pkt(DBG_APP_ID, &obc_data.dbg_uart);

    wdg_reset_UART();
    if(uxQueueMessagesWaiting(queueADCS)  > 0  ||
       uxQueueMessagesWaiting(queueDBG)   > 0  ||
       uxQueueMessagesWaiting(queueCOMMS) > 0  ||
       uxQueueMessagesWaiting(queueEPS)   > 0) {

      blockTime = xUARTMinBlockTime;
    } else {
      blockTime = xUARTMaxBlockTime;
    }

    ulNotificationValue = ulTaskNotifyTake( pdTRUE, blockTime);

  }
  /* USER CODE END 5 */
}

/* HK_task function */
void HK_task(void const * argument)
{
  /* USER CODE BEGIN HK_task */
  hk_INIT();
  /* Infinite loop */
  osDelay(6000);
  for(;;)
  {
    task_times.hk_time = HAL_sys_GetTick();
    hk_SCH();
    osDelay(10);
  }
  /* USER CODE END HK_task */
}

/* IDLE_task function */
void IDLE_task(void const * argument)
{
  /* USER CODE BEGIN IDLE_task */

    /*Task notification setup*/
  osDelay(5000);
  /* Infinite loop */
  for(;;)
  {

    wdg_IDLE();

    uint32_t time = HAL_sys_GetTick();
    task_times.idle_time = time;

    pkt_pool_IDLE(time);
    queue_IDLE(EPS_APP_ID);
    queue_IDLE(DBG_APP_ID);
    queue_IDLE(COMMS_APP_ID);
    queue_IDLE(ADCS_APP_ID);

    if(time - obc_data.adc_time > 30000) {
      HAL_ADC_Start_IT(&hadc1);
      obc_data.adc_time = time;
    }

    if(obc_data.adc_flag == true) {
      obc_data.vbat = (uint16_t) HAL_ADC_GetValue(&hadc1);
      HAL_ADC_Stop_IT(&hadc1);
      obc_data.adc_flag = false;
    }

    osDelay(1000);

  }
  /* USER CODE END IDLE_task */
}

/* SU_SCH function */
void SU_SCH(void const * argument)
{
  /* USER CODE BEGIN su_sch_task */
  uint32_t sleep_val_secs;
  su_mnlp_returnState su_sche_state = su_sche_last;
  osDelay(5000); /*delay to hold freeRTOS scheduler executing us before mass_storage init, su_init etc...*/

  for (;;){ /* Infinite loop */
    if( *MNLP_data.su_service_scheduler_active){

        sleep_val_secs = 0;
        su_sche_state = su_script_selector(&sleep_val_secs);

        if( su_sche_state == su_no_scr_eligible){
            ulTaskNotifyTake(pdTRUE, pdMS_TO_TICKS((sleep_val_secs)*1000)); /*sleeps for <50 secs*/
            continue;
        }
        else
        if( su_sche_state == su_new_scr_selected){ /*script marked active 1 to 60 seconds earlier, sleep this time*/
            ulTaskNotifyTake(pdTRUE, pdMS_TO_TICKS((sleep_val_secs)*1000));
            continue;
        }
        else
        if( su_sche_state == su_no_new_scr_selected){ /*so there is an already active script, old or new, go for it*/
            if( (*MNLP_data.su_nmlp_script_scheduler_active) == (uint8_t) true){
                sleep_val_secs = 0;
                su_sche_state = su_SCH(&sleep_val_secs);
                if( su_sche_state == su_sche_script_ended){
                    /*all time tables inside su_SCH has been served. Select a new script or go for the next science collection day*/
                   ulTaskNotifyTake(pdTRUE, pdMS_TO_TICKS((sleep_val_secs)*1000));
                   continue;
                   /*TODO: also to be notified on script upload?*/
                }
            }
        }
      }
    osDelay(2000);
  }
  /* USER CODE END su_sch_task */
}

/* sche_se_sch function */
void sche_se_sch(void const * argument)
{
  /* USER CODE BEGIN sche_se_sch */
  /* Infinite loop */
    osDelay(5000);

  for(;;)
  {
    task_times.sch_time = HAL_sys_GetTick();
    cross_schedules();
    osDelay(1000);
  }
  /* USER CODE END StartTask05 */
}

void HAL_TIM_PeriodElapsedCallback(TIM_HandleTypeDef *htim)
{
  if (htim->Instance == TIM1) {
    HAL_IncTick();
  }
}

void Error_Handler(void)
{
  while(1)
  {
  }
}

/************************ (C) COPYRIGHT STMicroelectronics *****END OF FILE****/

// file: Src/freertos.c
/**
  ******************************************************************************
  * File Name          : freertos.c
  * Description        : Code for freertos applications
  ******************************************************************************
  *
  * COPYRIGHT(c) 2016 STMicroelectronics
  *
  * Redistribution and use in source and binary forms, with or without modification,
  * are permitted provided that the following conditions are met:
  *   1. Redistributions of source code must retain the above copyright notice,
  *      this list of conditions and the following disclaimer.
  *   2. Redistributions in binary form must reproduce the above copyright notice,
  *      this list of conditions and the following disclaimer in the documentation
  *      and/or other materials provided with the distribution.
  *   3. Neither the name of STMicroelectronics nor the names of its contributors
  *      may be used to endorse or promote products derived from this software
  *      without specific prior written permission.
  *
  * THIS SOFTWARE IS PROVIDED BY THE COPYRIGHT HOLDERS AND CONTRIBUTORS "AS IS"
  * AND ANY EXPRESS OR IMPLIED WARRANTIES, INCLUDING, BUT NOT LIMITED TO, THE
  * IMPLIED WARRANTIES OF MERCHANTABILITY AND FITNESS FOR A PARTICULAR PURPOSE ARE
  * DISCLAIMED. IN NO EVENT SHALL THE COPYRIGHT HOLDER OR CONTRIBUTORS BE LIABLE
  * FOR ANY DIRECT, INDIRECT, INCIDENTAL, SPECIAL, EXEMPLARY, OR CONSEQUENTIAL
  * DAMAGES (INCLUDING, BUT NOT LIMITED TO, PROCUREMENT OF SUBSTITUTE GOODS OR
  * SERVICES; LOSS OF USE, DATA, OR PROFITS; OR BUSINESS INTERRUPTION) HOWEVER
  * CAUSED AND ON ANY THEORY OF LIABILITY, WHETHER IN CONTRACT, STRICT LIABILITY,
  * OR TORT (INCLUDING NEGLIGENCE OR OTHERWISE) ARISING IN ANY WAY OUT OF THE USE
  * OF THIS SOFTWARE, EVEN IF ADVISED OF THE POSSIBILITY OF SUCH DAMAGE.
  *
  ******************************************************************************
  */

#include "SEGGER_SYSVIEW_FreeRTOS.h"
#include "FreeRTOS.h"
#include "task.h"

/* USER CODE BEGIN Includes */
#include "services.h"
#undef __FILE_ID__
#define __FILE_ID__ 696
/* USER CODE END Includes */

/* Hook prototypes */
void vApplicationIdleHook(void);
void vApplicationStackOverflowHook(xTaskHandle xTask, signed char *pcTaskName);

/* USER CODE BEGIN 2 */
void vApplicationIdleHook( void )
{
   /* vApplicationIdleHook() will only be called if configUSE_IDLE_HOOK is set
   to 1 in FreeRTOSConfig.h. It will be called on each iteration of the idle
   task. It is essential that code added to this hook function never attempts
   to block in any way (for example, call xQueueReceive() with a block time
   specified, or call vTaskDelay()). If the application makes use of the
   vTaskDelete() API function (as this demo application does) then it is also
   important that vApplicationIdleHook() is permitted to return to its calling
   function, because it is the responsibility of the idle task to clean up
   memory allocated by the kernel to any task that has since been deleted. */
}
/* USER CODE END 2 */

/* USER CODE BEGIN 4 */
void vApplicationStackOverflowHook(xTaskHandle xTask, signed char *pcTaskName)
{
  uint8_t check = 0;
   /* Run time stack overflow checking is performed if
   configCHECK_FOR_STACK_OVERFLOW is defined to 1 or 2. This hook function is
   called if a stack overflow is detected. */
}
/* USER CODE END 4 */

/************************ (C) COPYRIGHT STMicroelectronics *****END OF FILE****/
